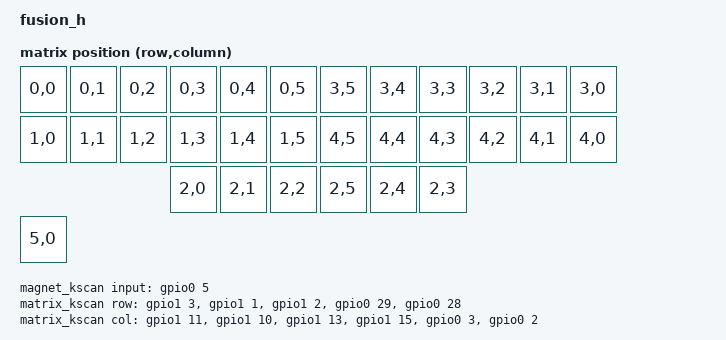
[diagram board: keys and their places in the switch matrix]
/*
 * Copyright (c) 2020 Pete Johanson
 *
 * SPDX-License-Identifier: MIT
 */

/dts-v1/;
#include <nordic/nrf52840_qiaa.dtsi>
#include <dt-bindings/zmk/matrix_transform.h>

/ {
    model = "fusion_h";
    compatible = "fusion_h";

    chosen {
        zephyr,code-partition = &code_partition;
        zephyr,sram = &sram0;
        zephyr,flash = &flash0;
        zmk,kscan = &composite_kscan;
        zmk,matrix_transform = &transform;
        zmk,steno_flash = &spi_flash;
    };

	transform: transform {
		compatible = "zmk,matrix-transform";
		columns = <12>;
		rows = <4>;
		map = <
RC(0,0) RC(0,1) RC(0,2) RC(0,3) RC(0,4) RC(0,5)  RC(3,5) RC(3,4) RC(3,3) RC(3,2) RC(3,1) RC(3,0)
RC(1,0) RC(1,1) RC(1,2) RC(1,3) RC(1,4) RC(1,5)  RC(4,5) RC(4,4) RC(4,3) RC(4,2) RC(4,1) RC(4,0)
                        RC(2,0) RC(2,1) RC(2,2)  RC(2,5) RC(2,4) RC(2,3)
RC(5,0)
		>;
	};

    composite_kscan: kscan {
        compatible = "zmk,kscan-composite";
        label = "composite_kscan";
        rows = <6>;
        columns = <6>;
        matrix_kscan {
            label = "matrix_kscan";
            kscan = <&matrix_kscan>;
        };
        magnet_kscan {
            label = "magnet_kscan";
            kscan = <&magnet_kscan>;
            row-offset = <5>;
        };
    };

    magnet_kscan: kscan1 {
        compatible = "zmk,kscan-gpio-direct";
        label = "magnet_kscan";
        input-gpios = <&gpio0 5 (GPIO_ACTIVE_LOW | GPIO_PULL_UP)>;
    };

    matrix_kscan: kscan0 {
        compatible = "zmk,kscan-gpio-matrix";
        label = "matrix_kscan";
		diode-direction = "row2col";
		row-gpios
            = <&gpio1  3 GPIO_ACTIVE_HIGH>
            , <&gpio1  1 GPIO_ACTIVE_HIGH>
            , <&gpio1  2 GPIO_ACTIVE_HIGH>
            , <&gpio0 29 GPIO_ACTIVE_HIGH>
            , <&gpio0 28 GPIO_ACTIVE_HIGH>
            ;
        col-gpios
            = <&gpio1 11 (GPIO_ACTIVE_HIGH | GPIO_PULL_DOWN)>
            , <&gpio1 10 (GPIO_ACTIVE_HIGH | GPIO_PULL_DOWN)>
            , <&gpio1 13 (GPIO_ACTIVE_HIGH | GPIO_PULL_DOWN)>
            , <&gpio1 15 (GPIO_ACTIVE_HIGH | GPIO_PULL_DOWN)>
            , <&gpio0  3 (GPIO_ACTIVE_HIGH | GPIO_PULL_DOWN)>
            , <&gpio0  2 (GPIO_ACTIVE_HIGH | GPIO_PULL_DOWN)>
            ;
    };

    leds {
        compatible = "gpio-leds";
        blue_led: led_0 {
            gpios = <&gpio0 31 GPIO_ACTIVE_HIGH>;
            label = "Blue LED";
        };
    };

    buttons {
        compatible = "gpio-keys";
        button {
            gpios = <&gpio0 30 (GPIO_ACTIVE_LOW | GPIO_PULL_UP)>;
            label = "button";
        };
    };

    vbatt {
        compatible = "zmk,battery-voltage-divider";
        label = "BATTERY";
        io-channels = <&adc 2>;
        output-ohms = <2000000>;
        full-ohms = <(2000000 + 2000000)>;
    };
};

&adc {
    status = "okay";
};

&gpiote {
    status = "okay";
};

&gpio0 {
    status = "okay";
};

&gpio1 {
    status = "okay";
};

&usbd {
    status = "okay";
};


&flash0 {
    /*
     * For more information, see:
     * http://docs.zephyrproject.org/latest/devices/dts/flash_partitions.html
     */
    partitions {
        compatible = "fixed-partitions";
        #address-cells = <1>;
        #size-cells = <1>;

        sd_partition: partition@0 {
            label = "mbr";
            reg = <0x00000000 0x00001000>;
        };
        code_partition: partition@1000 {
            label = "code_partition";
            reg = <0x00001000 0x000d3000>;
        };

        /*
         * The flash starting at 0x000d4000 and ending at
         * 0x000f3fff is reserved for use by the application.
         */

        /*
         * Storage partition will be used by FCB/LittleFS/NVS
         * if enabled.
         */
        storage_partition: partition@d4000 {
            label = "storage";
            reg = <0x000d4000 0x00020000>;
        };

        boot_partition: partition@f4000 {
            label = "adafruit_boot";
            reg = <0x000f4000 0x0000c000>;
        };
    };
};

&spi0 {
    compatible = "nordic,nrf-spim";
    status = "okay";
    sck-pin = <32>;
    mosi-pin = <22>;
    miso-pin = <41>;

    cs-gpios = <&gpio0 10 GPIO_ACTIVE_HIGH>, <&gpio0 7 GPIO_ACTIVE_LOW>;
    sharp: sharp_lcd@0 {
        compatible = "sharp,ls0xx";
        label = "DISPLAY";
        reg = <0>;
        status = "okay";
        spi-max-frequency = <1000000>;
        height = <168>;
        width = <144>;
        extcomin-gpios = <&gpio0 9 GPIO_ACTIVE_HIGH>;
        extcomin-frequency = <60>;
        disp-en-gpios = <&gpio1 6 GPIO_ACTIVE_HIGH>;
    };
    spi_flash: flash@1 {
        compatible = "jedec,spi-nor";
        status = "okay";
        reg = <1>;
        spi-max-frequency = <8000000>;
        label = "MT25Q";
        jedec-id = [ef 40 18];
        size = <0x8000000>;
        has-dpd;
        t-enter-dpd = <3000>;
        t-exit-dpd = <30000>;
    };
};
